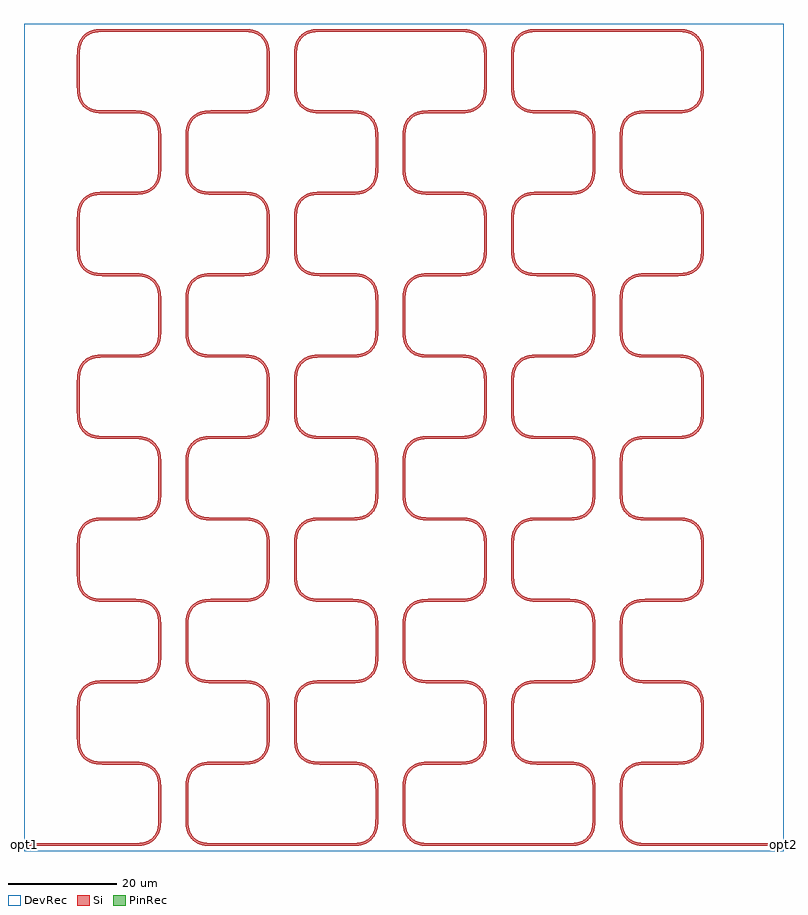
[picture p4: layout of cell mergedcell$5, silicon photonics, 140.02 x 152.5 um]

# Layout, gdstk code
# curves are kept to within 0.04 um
from math import pi, radians
import gdstk
lib = gdstk.Library(unit=1e-6, precision=1e-09)
def R(c, l, rs):  # rectangles x0, y0, x1, y1
    for r in rs: c.add(gdstk.rectangle(r[:2], r[2:], *l))
def P(c, l, *ps):  # polygons
    for p in ps: c.add(gdstk.Polygon(p, *l))
Si = (1, 0)
PinRec = (1, 10)
DevRec = (68, 0)

bend_euler_gdsfactorypco = lib.new_cell('bend_euler_gdsfactorypcomponentspbendspbend_euler_RNone_3d4f7561$4')
P(bend_euler_gdsfactorypco, Si, [(0,-0.25),(0,0.25),(1.36,0.294),(2.268,0.462),(3.02,0.78),(3.699,1.301),(4.22,1.98),(4.538,2.732),(4.706,3.64),(4.75,5),(5.25,5),(5.203,3.59),(5.018,2.592),(4.653,1.73),(4.053,0.947),(3.27,0.347),(2.408,-0.018),(1.41,-0.203)])

straight_gdsfactorypcomp = lib.new_cell('straight_gdsfactorypcomponentspwaveguidespstraight_L5_N_c97c2272$6')
R(straight_gdsfactorypcomp, Si, [(0,-0.25,5,0.25)])

c_straight_gdsfactorypcomp = lib.new_cell('straight_gdsfactorypcomponentspwaveguidespstraight_L20__fccdfb5a$6')
R(c_straight_gdsfactorypcomp, Si, [(0,-0.25,20,0.25)])

cutback_bend90_gdsfactor = lib.new_cell('cutback_bend90_gdsfactorypcomponentsppcmspcutback_bend__5c533894$2')
cutback_bend90_gdsfactor.add(gdstk.Reference(bend_euler_gdsfactorypco, (5,70), rotation=pi/2))
cutback_bend90_gdsfactor.add(gdstk.Reference(straight_gdsfactorypcomp, (0,75), rotation=pi))
cutback_bend90_gdsfactor.add(gdstk.Reference(bend_euler_gdsfactorypco, (-10,80), rotation=3*pi/2))
cutback_bend90_gdsfactor.add(gdstk.Reference(bend_euler_gdsfactorypco, (20,75)))
cutback_bend90_gdsfactor.add(gdstk.Reference(straight_gdsfactorypcomp, (20,75), rotation=pi))
cutback_bend90_gdsfactor.add(gdstk.Reference(bend_euler_gdsfactorypco, (15,75), rotation=pi))
cutback_bend90_gdsfactor.add(gdstk.Reference(bend_euler_gdsfactorypco, (45,70), rotation=pi/2))
cutback_bend90_gdsfactor.add(gdstk.Reference(straight_gdsfactorypcomp, (40,75), rotation=pi))
cutback_bend90_gdsfactor.add(gdstk.Reference(bend_euler_gdsfactorypco, (30,80), rotation=3*pi/2))
cutback_bend90_gdsfactor.add(gdstk.Reference(c_straight_gdsfactorypcomp, (40,150)))
cutback_bend90_gdsfactor.add(gdstk.Reference(bend_euler_gdsfactorypco, (60,75)))
cutback_bend90_gdsfactor.add(gdstk.Reference(straight_gdsfactorypcomp, (60,75), rotation=pi))
cutback_bend90_gdsfactor.add(gdstk.Reference(bend_euler_gdsfactorypco, (55,75), rotation=pi))
cutback_bend90_gdsfactor.add(gdstk.Reference(bend_euler_gdsfactorypco, (85,70), rotation=pi/2))
cutback_bend90_gdsfactor.add(gdstk.Reference(straight_gdsfactorypcomp, (80,75), rotation=pi))
cutback_bend90_gdsfactor.add(gdstk.Reference(bend_euler_gdsfactorypco, (70,80), rotation=3*pi/2))
cutback_bend90_gdsfactor.add(gdstk.Reference(bend_euler_gdsfactorypco, (100,75)))
cutback_bend90_gdsfactor.add(gdstk.Reference(straight_gdsfactorypcomp, (100,75), rotation=pi))
cutback_bend90_gdsfactor.add(gdstk.Reference(bend_euler_gdsfactorypco, (95,75), rotation=pi))
cutback_bend90_gdsfactor.add(gdstk.Reference(straight_gdsfactorypcomp, (65,115), rotation=3*pi/2))
cutback_bend90_gdsfactor.add(gdstk.Reference(bend_euler_gdsfactorypco, (60,105)))
cutback_bend90_gdsfactor.add(gdstk.Reference(straight_gdsfactorypcomp, (60,105), rotation=pi))
cutback_bend90_gdsfactor.add(gdstk.Reference(bend_euler_gdsfactorypco, (55,105), rotation=pi))
cutback_bend90_gdsfactor.add(gdstk.Reference(straight_gdsfactorypcomp, (50,100), rotation=3*pi/2))
cutback_bend90_gdsfactor.add(gdstk.Reference(bend_euler_gdsfactorypco, (50,95), rotation=3*pi/2))
cutback_bend90_gdsfactor.add(gdstk.Reference(straight_gdsfactorypcomp, (55,90)))
cutback_bend90_gdsfactor.add(gdstk.Reference(bend_euler_gdsfactorypco, (65,85), rotation=pi/2))
cutback_bend90_gdsfactor.add(gdstk.Reference(straight_gdsfactorypcomp, (65,85), rotation=3*pi/2))
cutback_bend90_gdsfactor.add(gdstk.Reference(bend_euler_gdsfactorypco, (65,145), rotation=pi/2))
cutback_bend90_gdsfactor.add(gdstk.Reference(straight_gdsfactorypcomp, (65,145), rotation=3*pi/2))
cutback_bend90_gdsfactor.add(gdstk.Reference(bend_euler_gdsfactorypco, (60,135)))
cutback_bend90_gdsfactor.add(gdstk.Reference(straight_gdsfactorypcomp, (60,135), rotation=pi))
cutback_bend90_gdsfactor.add(gdstk.Reference(bend_euler_gdsfactorypco, (55,135), rotation=pi))
cutback_bend90_gdsfactor.add(gdstk.Reference(straight_gdsfactorypcomp, (50,130), rotation=3*pi/2))
cutback_bend90_gdsfactor.add(gdstk.Reference(straight_gdsfactorypcomp, (70,80), rotation=pi/2))
cutback_bend90_gdsfactor.add(gdstk.Reference(bend_euler_gdsfactorypco, (75,90), rotation=pi))
cutback_bend90_gdsfactor.add(gdstk.Reference(straight_gdsfactorypcomp, (75,90)))
cutback_bend90_gdsfactor.add(gdstk.Reference(bend_euler_gdsfactorypco, (80,90)))
cutback_bend90_gdsfactor.add(gdstk.Reference(straight_gdsfactorypcomp, (85,95), rotation=pi/2))
cutback_bend90_gdsfactor.add(gdstk.Reference(bend_euler_gdsfactorypco, (85,100), rotation=pi/2))
cutback_bend90_gdsfactor.add(gdstk.Reference(straight_gdsfactorypcomp, (80,105), rotation=pi))
cutback_bend90_gdsfactor.add(gdstk.Reference(bend_euler_gdsfactorypco, (70,110), rotation=3*pi/2))
cutback_bend90_gdsfactor.add(gdstk.Reference(straight_gdsfactorypcomp, (70,110), rotation=pi/2))
cutback_bend90_gdsfactor.add(gdstk.Reference(bend_euler_gdsfactorypco, (75,120), rotation=pi))
cutback_bend90_gdsfactor.add(gdstk.Reference(straight_gdsfactorypcomp, (75,120)))
cutback_bend90_gdsfactor.add(gdstk.Reference(bend_euler_gdsfactorypco, (80,120)))
cutback_bend90_gdsfactor.add(gdstk.Reference(straight_gdsfactorypcomp, (85,125), rotation=pi/2))
cutback_bend90_gdsfactor.add(gdstk.Reference(bend_euler_gdsfactorypco, (85,130), rotation=pi/2))
cutback_bend90_gdsfactor.add(gdstk.Reference(straight_gdsfactorypcomp, (80,135), rotation=pi))
cutback_bend90_gdsfactor.add(gdstk.Reference(bend_euler_gdsfactorypco, (70,140), rotation=3*pi/2))
cutback_bend90_gdsfactor.add(gdstk.Reference(straight_gdsfactorypcomp, (70,140), rotation=pi/2))
cutback_bend90_gdsfactor.add(gdstk.Reference(bend_euler_gdsfactorypco, (75,150), rotation=pi))
cutback_bend90_gdsfactor.add(gdstk.Reference(straight_gdsfactorypcomp, (75,150)))
cutback_bend90_gdsfactor.add(gdstk.Reference(c_straight_gdsfactorypcomp, (80,150)))
cutback_bend90_gdsfactor.add(gdstk.Reference(bend_euler_gdsfactorypco, (105,145), rotation=pi/2))
cutback_bend90_gdsfactor.add(gdstk.Reference(straight_gdsfactorypcomp, (105,145), rotation=3*pi/2))
cutback_bend90_gdsfactor.add(gdstk.Reference(bend_euler_gdsfactorypco, (100,135)))
cutback_bend90_gdsfactor.add(gdstk.Reference(straight_gdsfactorypcomp, (100,135), rotation=pi))
cutback_bend90_gdsfactor.add(gdstk.Reference(bend_euler_gdsfactorypco, (95,135), rotation=pi))
cutback_bend90_gdsfactor.add(gdstk.Reference(straight_gdsfactorypcomp, (90,130), rotation=3*pi/2))
cutback_bend90_gdsfactor.add(gdstk.Reference(bend_euler_gdsfactorypco, (90,125), rotation=3*pi/2))
cutback_bend90_gdsfactor.add(gdstk.Reference(straight_gdsfactorypcomp, (95,120)))
cutback_bend90_gdsfactor.add(gdstk.Reference(bend_euler_gdsfactorypco, (105,115), rotation=pi/2))
cutback_bend90_gdsfactor.add(gdstk.Reference(straight_gdsfactorypcomp, (105,115), rotation=3*pi/2))
cutback_bend90_gdsfactor.add(gdstk.Reference(bend_euler_gdsfactorypco, (100,105)))
cutback_bend90_gdsfactor.add(gdstk.Reference(straight_gdsfactorypcomp, (100,105), rotation=pi))
cutback_bend90_gdsfactor.add(gdstk.Reference(bend_euler_gdsfactorypco, (95,105), rotation=pi))
cutback_bend90_gdsfactor.add(gdstk.Reference(straight_gdsfactorypcomp, (90,100), rotation=3*pi/2))
cutback_bend90_gdsfactor.add(gdstk.Reference(bend_euler_gdsfactorypco, (90,95), rotation=3*pi/2))
cutback_bend90_gdsfactor.add(gdstk.Reference(straight_gdsfactorypcomp, (95,90)))
cutback_bend90_gdsfactor.add(gdstk.Reference(bend_euler_gdsfactorypco, (105,85), rotation=pi/2))
cutback_bend90_gdsfactor.add(gdstk.Reference(straight_gdsfactorypcomp, (105,85), rotation=3*pi/2))
cutback_bend90_gdsfactor.add(gdstk.Reference(bend_euler_gdsfactorypco, (50,125), rotation=3*pi/2))
cutback_bend90_gdsfactor.add(gdstk.Reference(straight_gdsfactorypcomp, (55,120)))
cutback_bend90_gdsfactor.add(gdstk.Reference(bend_euler_gdsfactorypco, (65,115), rotation=pi/2))
cutback_bend90_gdsfactor.add(gdstk.Reference(bend_euler_gdsfactorypco, (-10,140), rotation=3*pi/2))
cutback_bend90_gdsfactor.add(gdstk.Reference(straight_gdsfactorypcomp, (-10,140), rotation=pi/2))
cutback_bend90_gdsfactor.add(gdstk.Reference(bend_euler_gdsfactorypco, (-5,150), rotation=pi))
cutback_bend90_gdsfactor.add(gdstk.Reference(straight_gdsfactorypcomp, (-5,150)))
cutback_bend90_gdsfactor.add(gdstk.Reference(c_straight_gdsfactorypcomp, (0,150)))
cutback_bend90_gdsfactor.add(gdstk.Reference(bend_euler_gdsfactorypco, (25,145), rotation=pi/2))
cutback_bend90_gdsfactor.add(gdstk.Reference(straight_gdsfactorypcomp, (25,145), rotation=3*pi/2))
cutback_bend90_gdsfactor.add(gdstk.Reference(bend_euler_gdsfactorypco, (20,135)))
cutback_bend90_gdsfactor.add(gdstk.Reference(straight_gdsfactorypcomp, (20,135), rotation=pi))
cutback_bend90_gdsfactor.add(gdstk.Reference(bend_euler_gdsfactorypco, (15,135), rotation=pi))
cutback_bend90_gdsfactor.add(gdstk.Reference(straight_gdsfactorypcomp, (10,130), rotation=3*pi/2))
cutback_bend90_gdsfactor.add(gdstk.Reference(bend_euler_gdsfactorypco, (10,125), rotation=3*pi/2))
cutback_bend90_gdsfactor.add(gdstk.Reference(straight_gdsfactorypcomp, (15,120)))
cutback_bend90_gdsfactor.add(gdstk.Reference(bend_euler_gdsfactorypco, (25,115), rotation=pi/2))
cutback_bend90_gdsfactor.add(gdstk.Reference(straight_gdsfactorypcomp, (25,115), rotation=3*pi/2))
cutback_bend90_gdsfactor.add(gdstk.Reference(bend_euler_gdsfactorypco, (20,105)))
cutback_bend90_gdsfactor.add(gdstk.Reference(straight_gdsfactorypcomp, (20,105), rotation=pi))
cutback_bend90_gdsfactor.add(gdstk.Reference(bend_euler_gdsfactorypco, (15,105), rotation=pi))
cutback_bend90_gdsfactor.add(gdstk.Reference(straight_gdsfactorypcomp, (10,100), rotation=3*pi/2))
cutback_bend90_gdsfactor.add(gdstk.Reference(bend_euler_gdsfactorypco, (10,95), rotation=3*pi/2))
cutback_bend90_gdsfactor.add(gdstk.Reference(straight_gdsfactorypcomp, (15,90)))
cutback_bend90_gdsfactor.add(gdstk.Reference(bend_euler_gdsfactorypco, (25,85), rotation=pi/2))
cutback_bend90_gdsfactor.add(gdstk.Reference(straight_gdsfactorypcomp, (25,85), rotation=3*pi/2))
cutback_bend90_gdsfactor.add(gdstk.Reference(straight_gdsfactorypcomp, (-10,80), rotation=pi/2))
cutback_bend90_gdsfactor.add(gdstk.Reference(bend_euler_gdsfactorypco, (-5,90), rotation=pi))
cutback_bend90_gdsfactor.add(gdstk.Reference(straight_gdsfactorypcomp, (-5,90)))
cutback_bend90_gdsfactor.add(gdstk.Reference(bend_euler_gdsfactorypco, (0,90)))
cutback_bend90_gdsfactor.add(gdstk.Reference(straight_gdsfactorypcomp, (5,95), rotation=pi/2))
cutback_bend90_gdsfactor.add(gdstk.Reference(bend_euler_gdsfactorypco, (5,100), rotation=pi/2))
cutback_bend90_gdsfactor.add(gdstk.Reference(straight_gdsfactorypcomp, (30,80), rotation=pi/2))
cutback_bend90_gdsfactor.add(gdstk.Reference(bend_euler_gdsfactorypco, (35,90), rotation=pi))
cutback_bend90_gdsfactor.add(gdstk.Reference(straight_gdsfactorypcomp, (35,90)))
cutback_bend90_gdsfactor.add(gdstk.Reference(bend_euler_gdsfactorypco, (40,90)))
cutback_bend90_gdsfactor.add(gdstk.Reference(straight_gdsfactorypcomp, (45,95), rotation=pi/2))
cutback_bend90_gdsfactor.add(gdstk.Reference(bend_euler_gdsfactorypco, (45,100), rotation=pi/2))
cutback_bend90_gdsfactor.add(gdstk.Reference(straight_gdsfactorypcomp, (40,105), rotation=pi))
cutback_bend90_gdsfactor.add(gdstk.Reference(bend_euler_gdsfactorypco, (30,110), rotation=3*pi/2))
cutback_bend90_gdsfactor.add(gdstk.Reference(straight_gdsfactorypcomp, (30,110), rotation=pi/2))
cutback_bend90_gdsfactor.add(gdstk.Reference(bend_euler_gdsfactorypco, (35,120), rotation=pi))
cutback_bend90_gdsfactor.add(gdstk.Reference(straight_gdsfactorypcomp, (35,120)))
cutback_bend90_gdsfactor.add(gdstk.Reference(bend_euler_gdsfactorypco, (40,120)))
cutback_bend90_gdsfactor.add(gdstk.Reference(straight_gdsfactorypcomp, (45,125), rotation=pi/2))
cutback_bend90_gdsfactor.add(gdstk.Reference(bend_euler_gdsfactorypco, (45,130), rotation=pi/2))
cutback_bend90_gdsfactor.add(gdstk.Reference(straight_gdsfactorypcomp, (40,135), rotation=pi))
cutback_bend90_gdsfactor.add(gdstk.Reference(bend_euler_gdsfactorypco, (30,140), rotation=3*pi/2))
cutback_bend90_gdsfactor.add(gdstk.Reference(straight_gdsfactorypcomp, (30,140), rotation=pi/2))
cutback_bend90_gdsfactor.add(gdstk.Reference(bend_euler_gdsfactorypco, (35,150), rotation=pi))
cutback_bend90_gdsfactor.add(gdstk.Reference(straight_gdsfactorypcomp, (35,150)))
cutback_bend90_gdsfactor.add(gdstk.Reference(straight_gdsfactorypcomp, (0,105), rotation=pi))
cutback_bend90_gdsfactor.add(gdstk.Reference(bend_euler_gdsfactorypco, (-10,110), rotation=3*pi/2))
cutback_bend90_gdsfactor.add(gdstk.Reference(straight_gdsfactorypcomp, (-10,110), rotation=pi/2))
cutback_bend90_gdsfactor.add(gdstk.Reference(bend_euler_gdsfactorypco, (-5,120), rotation=pi))
cutback_bend90_gdsfactor.add(gdstk.Reference(straight_gdsfactorypcomp, (-5,120)))
cutback_bend90_gdsfactor.add(gdstk.Reference(bend_euler_gdsfactorypco, (0,120)))
cutback_bend90_gdsfactor.add(gdstk.Reference(straight_gdsfactorypcomp, (5,125), rotation=pi/2))
cutback_bend90_gdsfactor.add(gdstk.Reference(bend_euler_gdsfactorypco, (5,130), rotation=pi/2))
cutback_bend90_gdsfactor.add(gdstk.Reference(straight_gdsfactorypcomp, (0,135), rotation=pi))
cutback_bend90_gdsfactor.add(gdstk.Reference(straight_gdsfactorypcomp, (20,15), rotation=pi))
cutback_bend90_gdsfactor.add(gdstk.Reference(bend_euler_gdsfactorypco, (15,15), rotation=pi))
cutback_bend90_gdsfactor.add(gdstk.Reference(straight_gdsfactorypcomp, (10,10), rotation=3*pi/2))
cutback_bend90_gdsfactor.add(gdstk.Reference(bend_euler_gdsfactorypco, (10,5), rotation=3*pi/2))
cutback_bend90_gdsfactor.add(gdstk.Reference(straight_gdsfactorypcomp, (15,0)))
cutback_bend90_gdsfactor.add(gdstk.Reference(c_straight_gdsfactorypcomp, (20,0)))
cutback_bend90_gdsfactor.add(gdstk.Reference(bend_euler_gdsfactorypco, (40,0)))
cutback_bend90_gdsfactor.add(gdstk.Reference(straight_gdsfactorypcomp, (45,5), rotation=pi/2))
cutback_bend90_gdsfactor.add(gdstk.Reference(bend_euler_gdsfactorypco, (45,10), rotation=pi/2))
cutback_bend90_gdsfactor.add(gdstk.Reference(straight_gdsfactorypcomp, (40,15), rotation=pi))
cutback_bend90_gdsfactor.add(gdstk.Reference(bend_euler_gdsfactorypco, (30,20), rotation=3*pi/2))
cutback_bend90_gdsfactor.add(gdstk.Reference(straight_gdsfactorypcomp, (30,20), rotation=pi/2))
cutback_bend90_gdsfactor.add(gdstk.Reference(bend_euler_gdsfactorypco, (35,30), rotation=pi))
cutback_bend90_gdsfactor.add(gdstk.Reference(straight_gdsfactorypcomp, (35,30)))
cutback_bend90_gdsfactor.add(gdstk.Reference(bend_euler_gdsfactorypco, (40,30)))
cutback_bend90_gdsfactor.add(gdstk.Reference(straight_gdsfactorypcomp, (45,35), rotation=pi/2))
cutback_bend90_gdsfactor.add(gdstk.Reference(bend_euler_gdsfactorypco, (45,40), rotation=pi/2))
cutback_bend90_gdsfactor.add(gdstk.Reference(straight_gdsfactorypcomp, (40,45), rotation=pi))
cutback_bend90_gdsfactor.add(gdstk.Reference(bend_euler_gdsfactorypco, (30,50), rotation=3*pi/2))
cutback_bend90_gdsfactor.add(gdstk.Reference(straight_gdsfactorypcomp, (30,50), rotation=pi/2))
cutback_bend90_gdsfactor.add(gdstk.Reference(bend_euler_gdsfactorypco, (35,60), rotation=pi))
cutback_bend90_gdsfactor.add(gdstk.Reference(straight_gdsfactorypcomp, (35,60)))
cutback_bend90_gdsfactor.add(gdstk.Reference(bend_euler_gdsfactorypco, (40,60)))
cutback_bend90_gdsfactor.add(gdstk.Reference(straight_gdsfactorypcomp, (45,65), rotation=pi/2))
cutback_bend90_gdsfactor.add(gdstk.Reference(bend_euler_gdsfactorypco, (0,30)))
cutback_bend90_gdsfactor.add(gdstk.Reference(straight_gdsfactorypcomp, (5,35), rotation=pi/2))
cutback_bend90_gdsfactor.add(gdstk.Reference(bend_euler_gdsfactorypco, (5,40), rotation=pi/2))
cutback_bend90_gdsfactor.add(gdstk.Reference(straight_gdsfactorypcomp, (0,45), rotation=pi))
cutback_bend90_gdsfactor.add(gdstk.Reference(bend_euler_gdsfactorypco, (-10,50), rotation=3*pi/2))
cutback_bend90_gdsfactor.add(gdstk.Reference(straight_gdsfactorypcomp, (-10,50), rotation=pi/2))
cutback_bend90_gdsfactor.add(gdstk.Reference(bend_euler_gdsfactorypco, (-5,60), rotation=pi))
cutback_bend90_gdsfactor.add(gdstk.Reference(straight_gdsfactorypcomp, (-5,60)))
cutback_bend90_gdsfactor.add(gdstk.Reference(bend_euler_gdsfactorypco, (0,60)))
cutback_bend90_gdsfactor.add(gdstk.Reference(straight_gdsfactorypcomp, (5,65), rotation=pi/2))
cutback_bend90_gdsfactor.add(gdstk.Reference(bend_euler_gdsfactorypco, (0,0)))
cutback_bend90_gdsfactor.add(gdstk.Reference(straight_gdsfactorypcomp, (5,5), rotation=pi/2))
cutback_bend90_gdsfactor.add(gdstk.Reference(bend_euler_gdsfactorypco, (5,10), rotation=pi/2))
cutback_bend90_gdsfactor.add(gdstk.Reference(straight_gdsfactorypcomp, (0,15), rotation=pi))
cutback_bend90_gdsfactor.add(gdstk.Reference(bend_euler_gdsfactorypco, (-10,20), rotation=3*pi/2))
cutback_bend90_gdsfactor.add(gdstk.Reference(straight_gdsfactorypcomp, (-10,20), rotation=pi/2))
cutback_bend90_gdsfactor.add(gdstk.Reference(bend_euler_gdsfactorypco, (-5,30), rotation=pi))
cutback_bend90_gdsfactor.add(gdstk.Reference(straight_gdsfactorypcomp, (-5,30)))
cutback_bend90_gdsfactor.add(gdstk.Reference(straight_gdsfactorypcomp, (10,70), rotation=3*pi/2))
cutback_bend90_gdsfactor.add(gdstk.Reference(bend_euler_gdsfactorypco, (10,65), rotation=3*pi/2))
cutback_bend90_gdsfactor.add(gdstk.Reference(straight_gdsfactorypcomp, (15,60)))
cutback_bend90_gdsfactor.add(gdstk.Reference(bend_euler_gdsfactorypco, (25,55), rotation=pi/2))
cutback_bend90_gdsfactor.add(gdstk.Reference(straight_gdsfactorypcomp, (25,55), rotation=3*pi/2))
cutback_bend90_gdsfactor.add(gdstk.Reference(bend_euler_gdsfactorypco, (20,45)))
cutback_bend90_gdsfactor.add(gdstk.Reference(straight_gdsfactorypcomp, (20,45), rotation=pi))
cutback_bend90_gdsfactor.add(gdstk.Reference(bend_euler_gdsfactorypco, (15,45), rotation=pi))
cutback_bend90_gdsfactor.add(gdstk.Reference(straight_gdsfactorypcomp, (10,40), rotation=3*pi/2))
cutback_bend90_gdsfactor.add(gdstk.Reference(bend_euler_gdsfactorypco, (10,35), rotation=3*pi/2))
cutback_bend90_gdsfactor.add(gdstk.Reference(straight_gdsfactorypcomp, (15,30)))
cutback_bend90_gdsfactor.add(gdstk.Reference(bend_euler_gdsfactorypco, (25,25), rotation=pi/2))
cutback_bend90_gdsfactor.add(gdstk.Reference(straight_gdsfactorypcomp, (25,25), rotation=3*pi/2))
cutback_bend90_gdsfactor.add(gdstk.Reference(bend_euler_gdsfactorypco, (20,15)))
cutback_bend90_gdsfactor.add(gdstk.Reference(straight_gdsfactorypcomp, (60,45), rotation=pi))
cutback_bend90_gdsfactor.add(gdstk.Reference(bend_euler_gdsfactorypco, (55,45), rotation=pi))
cutback_bend90_gdsfactor.add(gdstk.Reference(straight_gdsfactorypcomp, (50,40), rotation=3*pi/2))
cutback_bend90_gdsfactor.add(gdstk.Reference(bend_euler_gdsfactorypco, (50,35), rotation=3*pi/2))
cutback_bend90_gdsfactor.add(gdstk.Reference(straight_gdsfactorypcomp, (55,30)))
cutback_bend90_gdsfactor.add(gdstk.Reference(bend_euler_gdsfactorypco, (65,25), rotation=pi/2))
cutback_bend90_gdsfactor.add(gdstk.Reference(straight_gdsfactorypcomp, (65,25), rotation=3*pi/2))
cutback_bend90_gdsfactor.add(gdstk.Reference(bend_euler_gdsfactorypco, (60,15)))
cutback_bend90_gdsfactor.add(gdstk.Reference(straight_gdsfactorypcomp, (60,15), rotation=pi))
cutback_bend90_gdsfactor.add(gdstk.Reference(bend_euler_gdsfactorypco, (55,15), rotation=pi))
cutback_bend90_gdsfactor.add(gdstk.Reference(straight_gdsfactorypcomp, (50,10), rotation=3*pi/2))
cutback_bend90_gdsfactor.add(gdstk.Reference(bend_euler_gdsfactorypco, (50,5), rotation=3*pi/2))
cutback_bend90_gdsfactor.add(gdstk.Reference(straight_gdsfactorypcomp, (55,0)))
cutback_bend90_gdsfactor.add(gdstk.Reference(c_straight_gdsfactorypcomp, (60,0)))
cutback_bend90_gdsfactor.add(gdstk.Reference(bend_euler_gdsfactorypco, (80,0)))
cutback_bend90_gdsfactor.add(gdstk.Reference(straight_gdsfactorypcomp, (85,5), rotation=pi/2))
cutback_bend90_gdsfactor.add(gdstk.Reference(bend_euler_gdsfactorypco, (85,10), rotation=pi/2))
cutback_bend90_gdsfactor.add(gdstk.Reference(straight_gdsfactorypcomp, (80,15), rotation=pi))
cutback_bend90_gdsfactor.add(gdstk.Reference(bend_euler_gdsfactorypco, (70,20), rotation=3*pi/2))
cutback_bend90_gdsfactor.add(gdstk.Reference(straight_gdsfactorypcomp, (70,20), rotation=pi/2))
cutback_bend90_gdsfactor.add(gdstk.Reference(bend_euler_gdsfactorypco, (75,30), rotation=pi))
cutback_bend90_gdsfactor.add(gdstk.Reference(straight_gdsfactorypcomp, (75,30)))
cutback_bend90_gdsfactor.add(gdstk.Reference(bend_euler_gdsfactorypco, (80,30)))
cutback_bend90_gdsfactor.add(gdstk.Reference(straight_gdsfactorypcomp, (85,35), rotation=pi/2))
cutback_bend90_gdsfactor.add(gdstk.Reference(bend_euler_gdsfactorypco, (85,40), rotation=pi/2))
cutback_bend90_gdsfactor.add(gdstk.Reference(straight_gdsfactorypcomp, (80,45), rotation=pi))
cutback_bend90_gdsfactor.add(gdstk.Reference(bend_euler_gdsfactorypco, (70,50), rotation=3*pi/2))
cutback_bend90_gdsfactor.add(gdstk.Reference(straight_gdsfactorypcomp, (70,50), rotation=pi/2))
cutback_bend90_gdsfactor.add(gdstk.Reference(bend_euler_gdsfactorypco, (75,60), rotation=pi))
cutback_bend90_gdsfactor.add(gdstk.Reference(straight_gdsfactorypcomp, (75,60)))
cutback_bend90_gdsfactor.add(gdstk.Reference(bend_euler_gdsfactorypco, (80,60)))
cutback_bend90_gdsfactor.add(gdstk.Reference(straight_gdsfactorypcomp, (85,65), rotation=pi/2))
cutback_bend90_gdsfactor.add(gdstk.Reference(straight_gdsfactorypcomp, (50,70), rotation=3*pi/2))
cutback_bend90_gdsfactor.add(gdstk.Reference(bend_euler_gdsfactorypco, (50,65), rotation=3*pi/2))
cutback_bend90_gdsfactor.add(gdstk.Reference(straight_gdsfactorypcomp, (55,60)))
cutback_bend90_gdsfactor.add(gdstk.Reference(bend_euler_gdsfactorypco, (65,55), rotation=pi/2))
cutback_bend90_gdsfactor.add(gdstk.Reference(straight_gdsfactorypcomp, (65,55), rotation=3*pi/2))
cutback_bend90_gdsfactor.add(gdstk.Reference(bend_euler_gdsfactorypco, (60,45)))
cutback_bend90_gdsfactor.add(gdstk.Reference(straight_gdsfactorypcomp, (90,70), rotation=3*pi/2))
cutback_bend90_gdsfactor.add(gdstk.Reference(bend_euler_gdsfactorypco, (90,65), rotation=3*pi/2))
cutback_bend90_gdsfactor.add(gdstk.Reference(straight_gdsfactorypcomp, (95,60)))
cutback_bend90_gdsfactor.add(gdstk.Reference(bend_euler_gdsfactorypco, (105,55), rotation=pi/2))
cutback_bend90_gdsfactor.add(gdstk.Reference(straight_gdsfactorypcomp, (105,55), rotation=3*pi/2))
cutback_bend90_gdsfactor.add(gdstk.Reference(bend_euler_gdsfactorypco, (100,45)))
cutback_bend90_gdsfactor.add(gdstk.Reference(straight_gdsfactorypcomp, (100,45), rotation=pi))
cutback_bend90_gdsfactor.add(gdstk.Reference(bend_euler_gdsfactorypco, (95,45), rotation=pi))
cutback_bend90_gdsfactor.add(gdstk.Reference(straight_gdsfactorypcomp, (90,40), rotation=3*pi/2))
cutback_bend90_gdsfactor.add(gdstk.Reference(bend_euler_gdsfactorypco, (90,35), rotation=3*pi/2))
cutback_bend90_gdsfactor.add(gdstk.Reference(straight_gdsfactorypcomp, (95,30)))
cutback_bend90_gdsfactor.add(gdstk.Reference(bend_euler_gdsfactorypco, (105,25), rotation=pi/2))
cutback_bend90_gdsfactor.add(gdstk.Reference(straight_gdsfactorypcomp, (105,25), rotation=3*pi/2))
cutback_bend90_gdsfactor.add(gdstk.Reference(bend_euler_gdsfactorypco, (100,15)))
cutback_bend90_gdsfactor.add(gdstk.Reference(straight_gdsfactorypcomp, (100,15), rotation=pi))
cutback_bend90_gdsfactor.add(gdstk.Reference(bend_euler_gdsfactorypco, (95,15), rotation=pi))
cutback_bend90_gdsfactor.add(gdstk.Reference(straight_gdsfactorypcomp, (90,10), rotation=3*pi/2))
cutback_bend90_gdsfactor.add(gdstk.Reference(bend_euler_gdsfactorypco, (90,5), rotation=3*pi/2))
cutback_bend90_gdsfactor.add(gdstk.Reference(straight_gdsfactorypcomp, (95,0)))

bend_test_w0p5_r5_r5_c6_ = lib.new_cell('bend_test_W0p5_R5_R5_C6_OX0_OY0_OX100_OY0$1')
bend_test_w0p5_r5_r5_c6_.add(gdstk.Reference(cutback_bend90_gdsfactor, (0,0)))

c_straight_gdsfactorypcomp_ = lib.new_cell('straight_gdsfactorypcomponentspwaveguidespstraight_L20__87ee0427$6')
R(c_straight_gdsfactorypcomp_, Si, [(0,-0.25,20,0.25)])

mergedcell_5 = lib.new_cell('mergedcell$5')
R(mergedcell_5, DevRec, [(-20,-1.25,120,151.25)])
mergedcell_5.add(gdstk.FlexPath([(-19.99,0),(-20.01,0)], 0.5, ends="flush", simple_path=True, layer=1, datatype=10))  # PinRec
mergedcell_5.add(gdstk.FlexPath([(119.99,0),(120.01,0)], 0.5, ends="flush", simple_path=True, layer=1, datatype=10))  # PinRec
mergedcell_5.add(gdstk.Reference(bend_test_w0p5_r5_r5_c6_, (0,0)))
mergedcell_5.add(gdstk.Reference(c_straight_gdsfactorypcomp_, (-20,0)))
mergedcell_5.add(gdstk.Reference(c_straight_gdsfactorypcomp_, (100,0)))
mergedcell_5.add(gdstk.Label('opt1', (-20,0), layer=1, texttype=10))
mergedcell_5.add(gdstk.Label('opt2', (120,0), layer=1, texttype=10))

lib.write_gds('mergedcell_5.gds')
